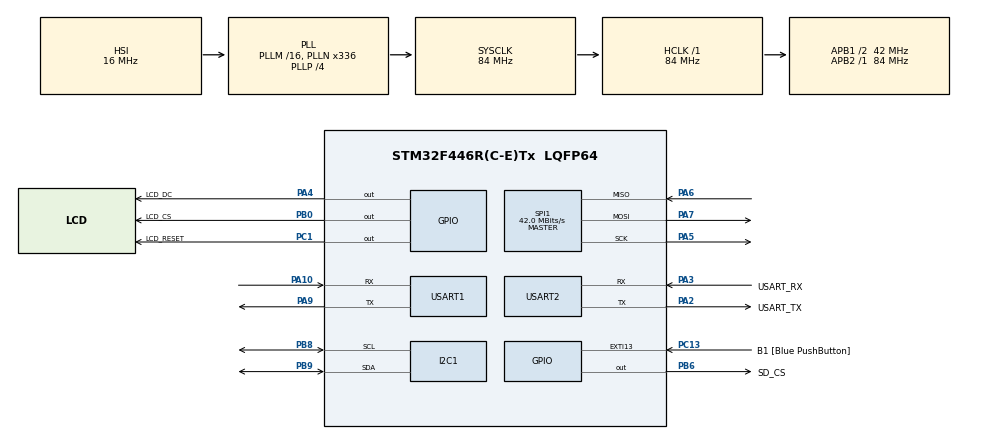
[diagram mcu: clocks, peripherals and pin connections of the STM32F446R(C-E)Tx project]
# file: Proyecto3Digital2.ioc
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FATFS._MAX_SS=4096
FATFS._USE_LFN=1
Mcu.Family=STM32F4
Mcu.Name=STM32F446R(C-E)Tx
Mcu.Package=LQFP64
NVIC.PriorityGroup=NVIC_PRIORITYGROUP_0
PA10.Mode=Asynchronous
PA10.Signal=USART1_RX
PA13.GPIO_Label=TMS
PA13.Mode=Serial_Wire
PA13.Signal=SYS_JTMS-SWDIO
PA14.GPIO_Label=TCK
PA14.Mode=Serial_Wire
PA14.Signal=SYS_JTCK-SWCLK
PA2.GPIO_Label=USART_TX
PA2.Mode=Asynchronous
PA2.Signal=USART2_TX
PA3.GPIO_Label=USART_RX
PA3.Mode=Asynchronous
PA3.Signal=USART2_RX
PA4.GPIO_Label=LCD_DC
PA4.GPIO_Speed=GPIO_SPEED_FREQ_MEDIUM
PA4.Signal=GPIO_Output
PA5.Mode=Full_Duplex_Master
PA5.Signal=SPI1_SCK
PA6.Mode=Full_Duplex_Master
PA6.Signal=SPI1_MISO
PA7.Mode=Full_Duplex_Master
PA7.Signal=SPI1_MOSI
PA9.Mode=Asynchronous
PA9.Signal=USART1_TX
PB0.GPIO_Label=LCD_CS
PB0.GPIO_Speed=GPIO_SPEED_FREQ_MEDIUM
PB0.Signal=GPIO_Output
PB3.GPIO_Label=SWO
PB3.Signal=SYS_JTDO-SWO
PB6.GPIO_Label=SD_CS
PB6.GPIO_Speed=GPIO_SPEED_FREQ_MEDIUM
PB6.Signal=GPIO_Output
PB8.Mode=I2C
PB8.Signal=I2C1_SCL
PB9.Mode=I2C
PB9.Signal=I2C1_SDA
PC1.GPIO_Label=LCD_RESET
PC1.GPIO_Speed=GPIO_SPEED_FREQ_MEDIUM
PC1.Signal=GPIO_Output
PC13.GPIO_Label=B1 [Blue PushButton]
PC13.GPIO_ModeDefaultEXTI=GPIO_MODE_IT_FALLING
PC13.Signal=GPXTI13
PC14-OSC32_IN.Mode=LSE-External-Oscillator
PC14-OSC32_IN.Signal=RCC_OSC32_IN
PC15-OSC32_OUT.Mode=LSE-External-Oscillator
PC15-OSC32_OUT.Signal=RCC_OSC32_OUT
PH0-OSC_IN.Mode=HSE-External-Oscillator
PH0-OSC_IN.Signal=RCC_OSC_IN
PH1-OSC_OUT.Mode=HSE-External-Oscillator
PH1-OSC_OUT.Signal=RCC_OSC_OUT
ProjectManager.HeapSize=0x200
ProjectManager.StackSize=0x400
ProjectManager.TargetToolchain=STM32CubeIDE
RCC.48MHZClocksFreq_Value=84000000
RCC.AHBFreq_Value=84000000
RCC.APB1CLKDivider=RCC_HCLK_DIV2
RCC.APB1Freq_Value=42000000
RCC.APB1TimFreq_Value=84000000
RCC.APB2Freq_Value=84000000
RCC.APB2TimFreq_Value=84000000
RCC.CortexFreq_Value=84000000
RCC.FLatency-AdvancedSettings=FLASH_LATENCY_2
RCC.HCLKFreq_Value=84000000
RCC.HSE_VALUE=8000000
RCC.HSI_VALUE=16000000
RCC.PLLN=336
RCC.PLLP=RCC_PLLP_DIV4
RCC.SYSCLKFreq_VALUE=84000000
RCC.SYSCLKSource=RCC_SYSCLKSOURCE_PLLCLK
RCC.USBFreq_Value=168000000
RCC.VCOOutputFreq_Value=336000000
SPI1.BaudRatePrescaler=SPI_BAUDRATEPRESCALER_2
SPI1.CalculateBaudRate=42.0 MBits/s
SPI1.Direction=SPI_DIRECTION_2LINES
SPI1.Mode=SPI_MODE_MASTER
SPI1.VirtualType=VM_MASTER
USART1.VirtualMode=VM_ASYNC
USART2.VirtualMode=VM_ASYNC
VP_FATFS_VS_Generic.Mode=User_defined
board=NUCLEO-F446RE

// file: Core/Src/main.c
/* USER CODE BEGIN Header */
/**
 ******************************************************************************
 * @file           : main.c
 * @brief          : Main program body
 ******************************************************************************
 * @attention
 *
 * Copyright (c) 2024 STMicroelectronics.
 * All rights reserved.
 *
 * This software is licensed under terms that can be found in the LICENSE file
 * in the root directory of this software component.
 * If no LICENSE file comes with this software, it is provided AS-IS.
 *
 ******************************************************************************
 */

/* USER CODE END Header */
#include "main.h"
#include "fatfs.h"

/* USER CODE BEGIN Includes */
#include <string.h>
#include <stdio.h>
#include <math.h>
#include "ili9341.h"
/* USER CODE END Includes */

I2C_HandleTypeDef hi2c1;

SPI_HandleTypeDef hspi1;

UART_HandleTypeDef huart1;
UART_HandleTypeDef huart2;

/* USER CODE BEGIN PV */

static volatile uint8_t uart1RecibioByte = 0;

extern const uint16_t fondo_imagen[76800];

extern const uint16_t lateral_izquierda[4900];
extern const uint16_t lateral_centro[4900];
extern const uint16_t lateral_derecha[4900];

extern const uint16_t vertical_arriba[4900];
extern const uint16_t vertical_centro[4900];
extern const uint16_t vertical_abajo[4900];

extern const uint16_t precaucion[900];

float offset_gx = 0.0f;
float offset_gy = 0.0f;
float offset_gz = 0.0f;

static uint8_t datoN1;

static volatile char lineaN1[64];
static volatile uint8_t lineaN1Lista = 0;

/* USER CODE END PV */

void SystemClock_Config(void);
static void MX_GPIO_Init(void);
static void MX_USART2_UART_Init(void);
static void MX_SPI1_Init(void);
static void MX_USART1_UART_Init(void);
static void MX_I2C1_Init(void);
/* USER CODE BEGIN PFP */
void MPU6050_Calibrar_Giroscopio(void);

void LCD_MostrarFondo(void);
void LCD_MovLateral(const uint16_t *imagen);
void LCD_MovVertical(const uint16_t *imagen);

void LCD_Rectangulo(uint16_t x, uint16_t y, uint16_t ancho, uint16_t alto, uint16_t color);
void LCD_DibujarPaneles(void);

void LCD_MostrarAngulos(float roll, float pitch);

void LCD_ActualizarManos(float roll, float pitch);

void LCD_MostrarPrecaucion(uint16_t x, uint16_t y);
void LCD_ActualizarPrecauciones(float roll, float pitch);

void UART_EnviarAngulos(float roll, float pitch);

void SPI1_VelocidadBaja(void);
void SPI1_VelocidadAlta(void);

static void N1_Enviar(const char *mensaje);
static void N1_Error(unsigned int id, const char *detalle);
static void N1_Ejecutar(const char *linea);
static void N1_Procesar(void);

static HAL_StatusTypeDef MPU6050_LeerAngulos(float *roll, float *pitch);
static FRESULT SD_GuardarMedicion(unsigned int id, uint32_t tiempo, float roll, float pitch);

/* USER CODE END PFP */

int main(void)
{

  /* MCU Configuration--------------------------------------------------------*/

  /* Reset of all peripherals, Initializes the Flash interface and the Systick. */
  HAL_Init();

  /* Configure the system clock */
  SystemClock_Config();

  /* Initialize all configured peripherals */
  MX_GPIO_Init();
  MX_USART2_UART_Init();
  MX_SPI1_Init();
  MX_USART1_UART_Init();
  MX_I2C1_Init();
  MX_FATFS_Init();
  /* USER CODE BEGIN 2 */

  // Inicializar pantalla TFT
  LCD_Init();

  // Dibujar fondo
  LCD_MostrarFondo();

  // Dibujar paneles de angulos
  LCD_DibujarPaneles();

  // Dibujar manos
  LCD_MovLateral(lateral_centro);
  LCD_MovVertical(vertical_centro);

  // Titulos de los paneles
  LCD_Print("ROLL", 35, 60, 1, 0x001F, 0xFFFF);

  LCD_Print("PITCH", 35, 150, 1, 0x001F, 0xFFFF);

  HAL_StatusTypeDef prueba_i2c;

  prueba_i2c = HAL_I2C_IsDeviceReady(&hi2c1, 0x68 << 1, 3, 100);

  if (prueba_i2c == HAL_OK)
  {
      char mensaje[] = "MPU6050 responde por I2C\r\n";

      HAL_UART_Transmit(&huart2, (uint8_t *)mensaje, strlen(mensaje), 100);
  }
  else
  {
      char mensaje[] = "MPU6050 NO responde por I2C\r\n";

      HAL_UART_Transmit(&huart2, (uint8_t *)mensaje, strlen(mensaje), 100);
  }

  uint8_t despertar = 0x00;

  HAL_StatusTypeDef estado = HAL_I2C_Mem_Write(&hi2c1, 0x68 << 1, 0x6B, I2C_MEMADD_SIZE_8BIT, &despertar, 1, 100);

  // Verificar si la escritura fue exitosa
  if (estado == HAL_OK)
  {
      char texto[] = "Sensor inicializado\r\n";

      HAL_UART_Transmit(&huart2, (uint8_t *)texto, sizeof(texto) - 1, 100);
  }
  else
  {
      char texto[] = "Error al inicializar sensor\r\n";

      HAL_UART_Transmit(&huart2, (uint8_t *)texto, sizeof(texto) - 1, 100);

      Error_Handler();
  }

  // Configurar giroscopio en +/-250 grados/s
  uint8_t gyro_config = 0x00;

  HAL_StatusTypeDef estado_config;

  estado_config = HAL_I2C_Mem_Write(&hi2c1, 0x68 << 1, 0x1B, I2C_MEMADD_SIZE_8BIT, &gyro_config, 1, 100);

  if (estado_config != HAL_OK)
  {
      Error_Handler();
  }

  // Configurar acelerometro en +/-2 g
  uint8_t accel_config = 0x00;

  if (HAL_I2C_Mem_Write(&hi2c1, 0x68 << 1, 0x1C, I2C_MEMADD_SIZE_8BIT, &accel_config, 1, 100) != HAL_OK)
  {
      Error_Handler();
  }

  // Dar tiempo al sensor para estabilizarse
  HAL_Delay(100);

  // Avisar que comenzara la calibracion
  char inicio[] = "Calibrando giroscopio. No mover sensor...\r\n";

  HAL_UART_Transmit(&huart2, (uint8_t *)inicio, sizeof(inicio) - 1, 100);

  // Calibrar
  MPU6050_Calibrar_Giroscopio();

  char fincalibracion[] = "Fin de la calibracion\r\n";

  	    HAL_UART_Transmit(&huart2, (uint8_t *)fincalibracion, strlen(fincalibracion), HAL_MAX_DELAY);

  	    HAL_Delay(2000);

  	  HAL_NVIC_SetPriority(USART1_IRQn, 0, 0);
  	  HAL_NVIC_EnableIRQ(USART1_IRQn);

  	  if (HAL_UART_Receive_IT(&huart1, &datoN1, 1) != HAL_OK)
  	  {
  	      Error_Handler();
  	  }

  	  const char lista[] = "NUCLEO2 LISTA\r\n";

  	  HAL_UART_Transmit(
  	      &huart2,
  	      (uint8_t *)lista,
  	      sizeof(lista) - 1U,
  	      100
  	  );

  /* USER CODE END 2 */

  /* Infinite loop */
  /* USER CODE BEGIN WHILE */

  while (1)
  {

	  if (uart1RecibioByte)
	  {
	      uart1RecibioByte = 0;

	      char aviso[] = "UART1: byte recibido\r\n";

	      HAL_UART_Transmit(
	          &huart2,
	          (uint8_t *)aviso,
	          strlen(aviso),
	          100
	      );
	  }

	  N1_Procesar();

      uint8_t datos[6];

      int16_t Ax, Ay, Az;
      int16_t Gx, Gy, Gz;

      float ax_g, ay_g, az_g;
      float gx_dps, gy_dps, gz_dps;

      float roll, pitch;

      char mensaje[100];

      HAL_StatusTypeDef estado_lectura;

      // Leer los 6 bytes del acelerometro
      estado_lectura = HAL_I2C_Mem_Read(&hi2c1, 0x68 << 1, 0x3B, I2C_MEMADD_SIZE_8BIT, datos, 6, 100);

      if (estado_lectura == HAL_OK)
      {
          // Combinar bytes altos y bajos
          Ax = (int16_t)((datos[0] << 8) | datos[1]);
          Ay = (int16_t)((datos[2] << 8) | datos[3]);
          Az = (int16_t)((datos[4] << 8) | datos[5]);

          // Convertir a unidades de gravedad (g)
          ax_g = Ax / 16384.0f;
          ay_g = Ay / 16384.0f;
          az_g = Az / 16384.0f;

          // Calcular angulos de inclinacion
          roll = atan2f(ay_g, az_g) * 180.0f / 3.14159265f;

          pitch = atan2f(-ax_g, sqrtf(ay_g * ay_g + az_g * az_g)) * 180.0f / 3.14159265f;

          // Actualizar angulos en la pantalla
          LCD_MostrarAngulos(roll, pitch);

          // Actualizar imagenes segun los angulos
          LCD_ActualizarManos(roll, pitch);

          // Actualizar advertencias
          LCD_ActualizarPrecauciones(roll, pitch);

          // Enviar mediciones a Nucleo 1
          //UART_EnviarAngulos(roll, pitch);

          // Preparar mensaje
          snprintf(mensaje, sizeof(mensaje),"Ax: %.2f g | Ay: %.2f g | Az: %.2f g\r\n", ax_g, ay_g, az_g);

          // Enviar al monitor serial
          HAL_UART_Transmit(&huart2, (uint8_t *)mensaje, strlen(mensaje), 100);

          snprintf(mensaje, sizeof(mensaje), "Roll: %.2f grados | Pitch: %.2f grados\r\n", roll, pitch);

          HAL_UART_Transmit(&huart2, (uint8_t *)mensaje, strlen(mensaje), 100);
      }

      // Leer los 6 bytes del giroscopio
            estado_lectura = HAL_I2C_Mem_Read(&hi2c1, 0x68 << 1, 0x43, I2C_MEMADD_SIZE_8BIT, datos, 6, 100);

            if (estado_lectura == HAL_OK)
            {
                // Combinar bytes altos y bajos
                Gx = (int16_t)((datos[0] << 8) | datos[1]);
                Gy = (int16_t)((datos[2] << 8) | datos[3]);
                Gz = (int16_t)((datos[4] << 8) | datos[5]);

                // Convertir a grados por segundo
                gx_dps = (Gx / 131.0f) - offset_gx;
                gy_dps = (Gy / 131.0f) - offset_gy;
                gz_dps = (Gz / 131.0f) - offset_gz;

                // Preparar mensaje
                snprintf(mensaje, sizeof(mensaje),"Gx: %.2f dps | Gy: %.2f dps | Gz: %.2f dps\r\n", gx_dps, gy_dps, gz_dps);

                // Enviar al monitor serial
                HAL_UART_Transmit(&huart2, (uint8_t *)mensaje, strlen(mensaje), 100);
            }
            // Separar cada grupo de mediciones

                char separador[] = "--------------------------\r\n";

                HAL_UART_Transmit(&huart2, (uint8_t *)separador, strlen(separador), 100);

      HAL_Delay(500);
  }
    /* USER CODE END WHILE */

}

void SystemClock_Config(void)
{
  RCC_OscInitTypeDef RCC_OscInitStruct = {0};
  RCC_ClkInitTypeDef RCC_ClkInitStruct = {0};

  /** Configure the main internal regulator output voltage
  */
  __HAL_RCC_PWR_CLK_ENABLE();
  __HAL_PWR_VOLTAGESCALING_CONFIG(PWR_REGULATOR_VOLTAGE_SCALE3);

  /** Initializes the RCC Oscillators according to the specified parameters
  * in the RCC_OscInitTypeDef structure.
  */
  RCC_OscInitStruct.OscillatorType = RCC_OSCILLATORTYPE_HSI;
  RCC_OscInitStruct.HSIState = RCC_HSI_ON;
  RCC_OscInitStruct.HSICalibrationValue = RCC_HSICALIBRATION_DEFAULT;
  RCC_OscInitStruct.PLL.PLLState = RCC_PLL_ON;
  RCC_OscInitStruct.PLL.PLLSource = RCC_PLLSOURCE_HSI;
  RCC_OscInitStruct.PLL.PLLM = 16;
  RCC_OscInitStruct.PLL.PLLN = 336;
  RCC_OscInitStruct.PLL.PLLP = RCC_PLLP_DIV4;
  RCC_OscInitStruct.PLL.PLLQ = 2;
  RCC_OscInitStruct.PLL.PLLR = 2;
  if (HAL_RCC_OscConfig(&RCC_OscInitStruct) != HAL_OK)
  {
    Error_Handler();
  }

  /** Initializes the CPU, AHB and APB buses clocks
  */
  RCC_ClkInitStruct.ClockType = RCC_CLOCKTYPE_HCLK|RCC_CLOCKTYPE_SYSCLK
                              |RCC_CLOCKTYPE_PCLK1|RCC_CLOCKTYPE_PCLK2;
  RCC_ClkInitStruct.SYSCLKSource = RCC_SYSCLKSOURCE_PLLCLK;
  RCC_ClkInitStruct.AHBCLKDivider = RCC_SYSCLK_DIV1;
  RCC_ClkInitStruct.APB1CLKDivider = RCC_HCLK_DIV2;
  RCC_ClkInitStruct.APB2CLKDivider = RCC_HCLK_DIV1;

  if (HAL_RCC_ClockConfig(&RCC_ClkInitStruct, FLASH_LATENCY_2) != HAL_OK)
  {
    Error_Handler();
  }
}

static void MX_I2C1_Init(void)
{

  hi2c1.Instance = I2C1;
  hi2c1.Init.ClockSpeed = 100000;
  hi2c1.Init.DutyCycle = I2C_DUTYCYCLE_2;
  hi2c1.Init.OwnAddress1 = 0;
  hi2c1.Init.AddressingMode = I2C_ADDRESSINGMODE_7BIT;
  hi2c1.Init.DualAddressMode = I2C_DUALADDRESS_DISABLE;
  hi2c1.Init.OwnAddress2 = 0;
  hi2c1.Init.GeneralCallMode = I2C_GENERALCALL_DISABLE;
  hi2c1.Init.NoStretchMode = I2C_NOSTRETCH_DISABLE;
  if (HAL_I2C_Init(&hi2c1) != HAL_OK)
  {
    Error_Handler();
  }

}

static void MX_SPI1_Init(void)
{

  /* SPI1 parameter configuration*/
  hspi1.Instance = SPI1;
  hspi1.Init.Mode = SPI_MODE_MASTER;
  hspi1.Init.Direction = SPI_DIRECTION_2LINES;
  hspi1.Init.DataSize = SPI_DATASIZE_8BIT;
  hspi1.Init.CLKPolarity = SPI_POLARITY_LOW;
  hspi1.Init.CLKPhase = SPI_PHASE_1EDGE;
  hspi1.Init.NSS = SPI_NSS_SOFT;
  hspi1.Init.BaudRatePrescaler = SPI_BAUDRATEPRESCALER_8;
  hspi1.Init.FirstBit = SPI_FIRSTBIT_MSB;
  hspi1.Init.TIMode = SPI_TIMODE_DISABLE;
  hspi1.Init.CRCCalculation = SPI_CRCCALCULATION_DISABLE;
  hspi1.Init.CRCPolynomial = 10;
  if (HAL_SPI_Init(&hspi1) != HAL_OK)
  {
    Error_Handler();
  }

}

static void MX_USART1_UART_Init(void)
{

  huart1.Instance = USART1;
  huart1.Init.BaudRate = 115200;
  huart1.Init.WordLength = UART_WORDLENGTH_8B;
  huart1.Init.StopBits = UART_STOPBITS_1;
  huart1.Init.Parity = UART_PARITY_NONE;
  huart1.Init.Mode = UART_MODE_TX_RX;
  huart1.Init.HwFlowCtl = UART_HWCONTROL_NONE;
  huart1.Init.OverSampling = UART_OVERSAMPLING_16;
  if (HAL_UART_Init(&huart1) != HAL_OK)
  {
    Error_Handler();
  }

}

static void MX_USART2_UART_Init(void)
{

  huart2.Instance = USART2;
  huart2.Init.BaudRate = 115200;
  huart2.Init.WordLength = UART_WORDLENGTH_8B;
  huart2.Init.StopBits = UART_STOPBITS_1;
  huart2.Init.Parity = UART_PARITY_NONE;
  huart2.Init.Mode = UART_MODE_TX_RX;
  huart2.Init.HwFlowCtl = UART_HWCONTROL_NONE;
  huart2.Init.OverSampling = UART_OVERSAMPLING_16;
  if (HAL_UART_Init(&huart2) != HAL_OK)
  {
    Error_Handler();
  }

}

static void MX_GPIO_Init(void)
{
  GPIO_InitTypeDef GPIO_InitStruct = {0};

  /* GPIO Ports Clock Enable */
  __HAL_RCC_GPIOC_CLK_ENABLE();
  __HAL_RCC_GPIOH_CLK_ENABLE();
  __HAL_RCC_GPIOA_CLK_ENABLE();
  __HAL_RCC_GPIOB_CLK_ENABLE();

  /*Configure GPIO pin Output Level */
  HAL_GPIO_WritePin(LCD_RESET_GPIO_Port, LCD_RESET_Pin, GPIO_PIN_RESET);

  /*Configure GPIO pin Output Level */
  HAL_GPIO_WritePin(LCD_DC_GPIO_Port, LCD_DC_Pin, GPIO_PIN_RESET);

  /*Configure GPIO pin Output Level */
  HAL_GPIO_WritePin(GPIOB, LCD_CS_Pin|SD_CS_Pin, GPIO_PIN_SET);

  /*Configure GPIO pin : B1_Pin */
  GPIO_InitStruct.Pin = B1_Pin;
  GPIO_InitStruct.Mode = GPIO_MODE_IT_FALLING;
  GPIO_InitStruct.Pull = GPIO_NOPULL;
  HAL_GPIO_Init(B1_GPIO_Port, &GPIO_InitStruct);

  /*Configure GPIO pin : LCD_RESET_Pin */
  GPIO_InitStruct.Pin = LCD_RESET_Pin;
  GPIO_InitStruct.Mode = GPIO_MODE_OUTPUT_PP;
  GPIO_InitStruct.Pull = GPIO_NOPULL;
  GPIO_InitStruct.Speed = GPIO_SPEED_FREQ_MEDIUM;
  HAL_GPIO_Init(LCD_RESET_GPIO_Port, &GPIO_InitStruct);

  /*Configure GPIO pin : LCD_DC_Pin */
  GPIO_InitStruct.Pin = LCD_DC_Pin;
  GPIO_InitStruct.Mode = GPIO_MODE_OUTPUT_PP;
  GPIO_InitStruct.Pull = GPIO_NOPULL;
  GPIO_InitStruct.Speed = GPIO_SPEED_FREQ_MEDIUM;
  HAL_GPIO_Init(LCD_DC_GPIO_Port, &GPIO_InitStruct);

  /*Configure GPIO pins : LCD_CS_Pin SD_CS_Pin */
  GPIO_InitStruct.Pin = LCD_CS_Pin|SD_CS_Pin;
  GPIO_InitStruct.Mode = GPIO_MODE_OUTPUT_PP;
  GPIO_InitStruct.Pull = GPIO_NOPULL;
  GPIO_InitStruct.Speed = GPIO_SPEED_FREQ_MEDIUM;
  HAL_GPIO_Init(GPIOB, &GPIO_InitStruct);

}

/* USER CODE BEGIN 4 */

static void N1_Enviar(const char *mensaje)
{
    // Enviar respuesta hacia Nucleo 1
    HAL_StatusTypeDef resultado;

    resultado = HAL_UART_Transmit(
        &huart1,
        (uint8_t *)mensaje,
        (uint16_t)strlen(mensaje),
        100
    );

    // Mostrar respuesta enviada en Hercules
    char debug[130];

    snprintf(debug, sizeof(debug),
             "TX Nucleo 2: %s | HAL: %d\r\n",
             mensaje, (int)resultado);

    HAL_UART_Transmit(
        &huart2,
        (uint8_t *)debug,
        strlen(debug),
        100
    );
}

// Informar un error asociado a una solicitud.
static void N1_Error(unsigned int id, const char *detalle)
{
    char respuesta[96];

    snprintf(
        respuesta,
        sizeof(respuesta),
        "ERROR;%u;%s\r\n",
        id,
        detalle
    );

    N1_Enviar(respuesta);
}

// Ejecutar una solicitud completa.
static void N1_Ejecutar(const char *linea)
{

	// Diagnostico: mostrar comando completo recibido
	char debug_uart[100];

	snprintf(debug_uart, sizeof(debug_uart),
	         "Comando recibido N1: %s\r\n", linea);

	HAL_UART_Transmit(&huart2,
	                  (uint8_t *)debug_uart,
	                  strlen(debug_uart),
	                  100);

    char comando[16];
    char extra;
    unsigned int id;

    if (sscanf(linea, "%15[^;];%u%c", comando, &id, &extra) != 2 ||
        id == 0U ||
        id > 65535U)
    {
        N1_Error(0, "FORMATO_INVALIDO");
        return;
    }

    if (strcmp(comando, "guardar") == 0)
    {
        float roll;
        float pitch;

        // Tomar una nueva medicion del MPU6050
        HAL_StatusTypeDef estado = MPU6050_LeerAngulos(&roll, &pitch);

        if (estado != HAL_OK)
        {
            N1_Error(id, "LECTURA_SENSOR");
            return;
        }

        // Obtener tiempo de la medicion
        uint32_t tiempo = HAL_GetTick();

        // Guardar nueva medicion en la microSD
        FRESULT resultado = SD_GuardarMedicion(id, tiempo, roll, pitch);

        if (resultado == FR_OK)
        {
            char respuesta[64];

            snprintf(respuesta, sizeof(respuesta), "GUARDADO;%u\r\n", id);

            N1_Enviar(respuesta);
        }
        else
        {
            char detalle[40];

            snprintf(detalle, sizeof(detalle), "SD_ERROR_%u", (unsigned int)resultado);

            N1_Error(id, detalle);
        }

        return;
    }

    if (strcmp(comando, "leer") != 0)
    {
        N1_Error(id, "COMANDO_INVALIDO");
        return;
    }

    char respuesta[96];

    // Nucleo 1 activa el sonido al recibir esta confirmacion.
    snprintf(
        respuesta,
        sizeof(respuesta),
        "INICIO;%u\r\n",
        id
    );

    N1_Enviar(respuesta);

    // Leer acelerometro: suficiente para calcular inclinacion.
    uint8_t datos[6];

    if (HAL_I2C_Mem_Read(
            &hi2c1,
            0x68U << 1,
            0x3B,
            I2C_MEMADD_SIZE_8BIT,
            datos,
            6,
            100
        ) != HAL_OK)
    {
        N1_Error(id, "LECTURA_SENSOR");
        return;
    }

    int16_t ax =
        (int16_t)(((uint16_t)datos[0] << 8) | datos[1]);

    int16_t ay =
        (int16_t)(((uint16_t)datos[2] << 8) | datos[3]);

    int16_t az =
        (int16_t)(((uint16_t)datos[4] << 8) | datos[5]);

    if (ax == 0 && ay == 0 && az == 0)
    {
        N1_Error(id, "VECTOR_NULO");
        return;
    }

    float ax_g = ax / 16384.0f;
    float ay_g = ay / 16384.0f;
    float az_g = az / 16384.0f;

    float roll =
        atan2f(ay_g, az_g) * 180.0f / 3.14159265f;

    float pitch =
        atan2f(
            -ax_g,
            sqrtf(ay_g * ay_g + az_g * az_g)
        ) * 180.0f / 3.14159265f;

    // Usar las funciones de pantalla de TU proyecto.
    LCD_MostrarAngulos(roll, pitch);
    LCD_ActualizarManos(roll, pitch);
    LCD_ActualizarPrecauciones(roll, pitch);

    // Transmitir angulos como enteros en centesimas de grado.
    int rollCdeg = (int)lroundf(roll * 100.0f);
    int pitchCdeg = (int)lroundf(pitch * 100.0f);

    snprintf(
        respuesta,
        sizeof(respuesta),
        "DATOS;%u;%d;%d\r\n",
        id,
        rollCdeg,
        pitchCdeg
    );

    N1_Enviar(respuesta);
}

// Procesar una linea recibida, fuera de la interrupcion.
static void N1_Procesar(void)
{
    uint8_t lista = lineaN1Lista;

    if (lista == 0U)
    {
        return;
    }

    if (lista == 2U)
    {
        lineaN1Lista = 0;
        N1_Error(0, "LINEA_INVALIDA");
        return;
    }

    // Copiar mientras la interrupcion conserva la linea.
    char copia[64];

    for (uint8_t i = 0; i < sizeof(copia); i++)
    {
        copia[i] = lineaN1[i];

        if (copia[i] == '\0')
        {
            break;
        }
    }

    copia[sizeof(copia) - 1U] = '\0';

    lineaN1Lista = 0;

    N1_Ejecutar(copia);
}

// Recibir caracteres sin hacer lecturas I2C ni dibujar en la ISR.
void HAL_UART_RxCpltCallback(UART_HandleTypeDef *huart)
{
    static uint8_t posicion = 0;
    static uint8_t descartar = 0;

    if (huart->Instance != USART1)
    {
        return;
    }

    if (lineaN1Lista == 0U)
    {
        char c = (char)datoN1;
        uart1RecibioByte = 1;

        if (c == '\n')
        {
            lineaN1[posicion] = '\0';

            if (descartar)
            {
                lineaN1Lista = 2;
            }
            else if (posicion > 0U)
            {
                lineaN1Lista = 1;
            }

            posicion = 0;
            descartar = 0;
        }
        else if (c != '\r' && !descartar)
        {
            if (c != '\0' &&
                posicion < sizeof(lineaN1) - 1U)
            {
                lineaN1[posicion++] = c;
            }
            else
            {
                descartar = 1;
            }
        }
    }

    HAL_UART_Receive_IT(&huart1, &datoN1, 1);
}

static HAL_StatusTypeDef MPU6050_LeerAngulos( float *roll, float *pitch)
{
    uint8_t datos[6];

    if (roll == NULL || pitch == NULL)
    {
        return HAL_ERROR;
    }

    HAL_StatusTypeDef estado = HAL_I2C_Mem_Read(&hi2c1, 0x68 << 1, 0x3B, I2C_MEMADD_SIZE_8BIT, datos, 6, 100);

    if (estado != HAL_OK)
    {
        return estado;
    }

    int16_t Ax = (int16_t)(((uint16_t)datos[0] << 8) | datos[1]
    );

    int16_t Ay = (int16_t)(((uint16_t)datos[2] << 8) | datos[3]
    );

    int16_t Az = (int16_t)(((uint16_t)datos[4] << 8) | datos[5]
    );

    if (Ax == 0 && Ay == 0 && Az == 0)
    {
        return HAL_ERROR;
    }

    float ax_g = Ax / 16384.0f;
    float ay_g = Ay / 16384.0f;
    float az_g = Az / 16384.0f;

    *roll = atan2f(ay_g, az_g) * 180.0f / 3.14159265f;

    *pitch = atan2f(-ax_g, sqrtf(ay_g * ay_g + az_g * az_g)) * 180.0f / 3.14159265f;

    return HAL_OK;
}

static FRESULT SD_GuardarMedicion(unsigned int id, uint32_t tiempo, float roll, float pitch)
{
    FATFS fs;
    FIL archivo;
    FRESULT resultado;
    FRESULT cierre;
    UINT escritos;

    char linea[100];

    const char cabecera[] = "ID,Tiempo_ms,Roll_deg,Pitch_deg\r\n";

    // Montar tarjeta microSD
    resultado = f_mount(&fs, "", 1);

    if (resultado != FR_OK)
    {
        f_mount(NULL, "", 0);
        return resultado;
    }

    // Abrir archivo sin borrar datos anteriores
    resultado = f_open(&archivo, "DATOS.CSV", FA_OPEN_ALWAYS | FA_WRITE);

    if (resultado != FR_OK)
    {
        f_mount(NULL, "", 0);
        return resultado;
    }

    // Si el archivo esta vacio, escribir cabecera
    if (f_size(&archivo) == 0)
    {
        resultado = f_write(&archivo, cabecera, sizeof(cabecera) - 1, &escritos);

        if (resultado != FR_OK ||
            escritos != sizeof(cabecera) - 1)
        {
            if (resultado == FR_OK)
                resultado = FR_DISK_ERR;

            goto finalizar;
        }
    }

    // Colocar cursor al final
    resultado = f_lseek(&archivo, f_size(&archivo));

    if (resultado != FR_OK)
        goto finalizar;

    // Preparar medicion
    int longitud = snprintf(
        linea,
        sizeof(linea),
        "%u,%lu,%.2f,%.2f\r\n",
        id,
        (unsigned long)tiempo,
        roll,
        pitch
    );

    if (longitud <= 0 ||
        longitud >= (int)sizeof(linea))
    {
        resultado = FR_INVALID_PARAMETER;
        goto finalizar;
    }

    // Escribir medicion
    resultado = f_write(&archivo, linea, (UINT)longitud, &escritos);

    if (resultado == FR_OK &&
        escritos != (UINT)longitud)
    {
        resultado = FR_DISK_ERR;
    }

finalizar:

    // Cerrar archivo
    cierre = f_close(&archivo);

    if (resultado == FR_OK)
    {
        resultado = cierre;
    }

    // Desmontar microSD
    f_mount(NULL, "", 0);

    return resultado;
}

void LCD_MostrarFondo(void)
{
    uint16_t color;

    SetWindows(0, 0, 319, 239);

    for (uint32_t i = 0; i < 76800; i++)
    {
        color = fondo_imagen[i];

        LCD_DATA(color >> 8);
        LCD_DATA(color & 0xFF);
    }
}

void LCD_MovLateral(const uint16_t *imagen)
{
    SetWindows(220, 50, 289, 119);

    for (uint32_t i = 0; i < 4900; i++)
    {
        uint16_t color = imagen[i];

        LCD_DATA(color >> 8);
        LCD_DATA(color & 0xFF);
    }
}

void LCD_MovVertical(const uint16_t *imagen)
{
    SetWindows(220, 140, 289, 209);

    for (uint32_t i = 0; i < 4900; i++)
    {
        uint16_t color = imagen[i];

        LCD_DATA(color >> 8);
        LCD_DATA(color & 0xFF);
    }
}

void LCD_MostrarAngulos(float roll, float pitch)
{
    char texto[20];

    // Limpiar area del angulo Roll
    LCD_Rectangulo(25, 80, 133, 32, 0xFFFF);

    snprintf(texto, sizeof(texto), "%.1f", roll);

    // Numero grande
    LCD_Print(texto, 30, 85, 2, 0x001F, 0xFFFF);

    // Unidad
    LCD_Print("deg", 115, 92, 1, 0x001F, 0xFFFF);

    // Limpiar area del angulo Pitch
    LCD_Rectangulo(25, 170, 133, 32, 0xFFFF);

    snprintf(texto, sizeof(texto), "%.1f", pitch);

    // Numero grande
    LCD_Print(texto, 30, 175, 2, 0x001F, 0xFFFF);

    // Unidad
    LCD_Print("deg", 115, 182, 1, 0x001F, 0xFFFF);
}

void LCD_ActualizarManos(float roll, float pitch)
{
    static int8_t estado_lateral = 0;
    static int8_t estado_vertical = 0;

    int8_t nuevo_lateral;
    int8_t nuevo_vertical;

    // Determinar posicion lateral
    if (roll < -15.0f)
    {
        nuevo_lateral = -1;
    }
    else if (roll > 15.0f)
    {
        nuevo_lateral = 1;
    }
    else
    {
        nuevo_lateral = 0;
    }

    // Determinar posicion vertical
    if (pitch < -15.0f)
    {
        nuevo_vertical = -1;
    }
    else if (pitch > 15.0f)
    {
        nuevo_vertical = 1;
    }
    else
    {
        nuevo_vertical = 0;
    }

    // Actualizar imagen lateral solo si cambia
    if (nuevo_lateral != estado_lateral)
    {
        if (nuevo_lateral == -1)
        {
            LCD_MovLateral(lateral_izquierda);
        }
        else if (nuevo_lateral == 1)
        {
            LCD_MovLateral(lateral_derecha);
        }
        else
        {
            LCD_MovLateral(lateral_centro);
        }

        estado_lateral = nuevo_lateral;
    }

    // Actualizar imagen vertical solo si cambia
    if (nuevo_vertical != estado_vertical)
    {
        if (nuevo_vertical == -1)
        {
            LCD_MovVertical(vertical_arriba);
        }
        else if (nuevo_vertical == 1)
        {
            LCD_MovVertical(vertical_abajo);
        }
        else
        {
            LCD_MovVertical(vertical_centro);
        }

        estado_vertical = nuevo_vertical;
    }
}

void LCD_MostrarPrecaucion(uint16_t x, uint16_t y)
{
    uint16_t color;

    SetWindows(x, y, x + 29, y + 29);

    for (uint32_t i = 0; i < 900; i++)
    {
        color = precaucion[i];

        LCD_DATA(color >> 8);
        LCD_DATA(color & 0xFF);
    }
}

void LCD_ActualizarPrecauciones(float roll, float pitch)
{
    static uint8_t alerta_roll = 0;
    static uint8_t alerta_pitch = 0;

    uint8_t nueva_alerta_roll;
    uint8_t nueva_alerta_pitch;

    // Limites de prueba
    float limite_roll = 30.0f;
    float limite_pitch = 30.0f;

    // Comprobar si se superaron los limites
    nueva_alerta_roll = (fabsf(roll) > limite_roll);
    nueva_alerta_pitch = (fabsf(pitch) > limite_pitch);

    // Actualizar advertencia Roll
    if (nueva_alerta_roll != alerta_roll)
    {
        if (nueva_alerta_roll)
        {
            LCD_MostrarPrecaucion(164, 55);
        }
        else
        {
            LCD_Rectangulo(164, 55, 30, 30, 0xFFFF);
        }

        alerta_roll = nueva_alerta_roll;
    }

    // Actualizar advertencia Pitch
    if (nueva_alerta_pitch != alerta_pitch)
    {
        if (nueva_alerta_pitch)
        {
            LCD_MostrarPrecaucion(164, 145);
        }
        else
        {
            LCD_Rectangulo(164, 145, 30, 30, 0xFFFF);
        }

        alerta_pitch = nueva_alerta_pitch;
    }
}

void UART_EnviarAngulos(float roll, float pitch)
{
    char mensaje[64];

    int longitud = snprintf(mensaje, sizeof(mensaje), "ROLL:%.1f,PITCH:%.1f\r\n", roll, pitch);

    if (longitud > 0 && longitud < sizeof(mensaje))
    {
        HAL_UART_Transmit(&huart1, (uint8_t *)mensaje, (uint16_t)longitud, 100);
    }
}

void SPI1_VelocidadBaja(void)
{
    // Deseleccionar pantalla y SD
    HAL_GPIO_WritePin(LCD_CS_GPIO_Port,
                      LCD_CS_Pin, GPIO_PIN_SET);

    HAL_GPIO_WritePin(SD_CS_GPIO_Port,
                      SD_CS_Pin, GPIO_PIN_SET);

    // Desactivar SPI
    HAL_SPI_DeInit(&hspi1);

    // Configurar prescaler 256
    hspi1.Init.BaudRatePrescaler =
        SPI_BAUDRATEPRESCALER_256;

    // Reiniciar SPI
    if (HAL_SPI_Init(&hspi1) != HAL_OK)
    {
        Error_Handler();
    }
}

void SPI1_VelocidadAlta(void)
{
    // Deseleccionar pantalla y SD
    HAL_GPIO_WritePin(LCD_CS_GPIO_Port, LCD_CS_Pin, GPIO_PIN_SET);

    HAL_GPIO_WritePin(SD_CS_GPIO_Port, SD_CS_Pin, GPIO_PIN_SET);

    // Desactivar SPI
    HAL_SPI_DeInit(&hspi1);

    // Restaurar prescaler 8
    hspi1.Init.BaudRatePrescaler = SPI_BAUDRATEPRESCALER_8;

    // Reiniciar SPI
    if (HAL_SPI_Init(&hspi1) != HAL_OK)
    {
        Error_Handler();
    }
}

void MPU6050_Calibrar_Giroscopio(void)
{
    uint8_t datos[6];

    int16_t Gx, Gy, Gz;

    int32_t suma_gx = 0;
    int32_t suma_gy = 0;
    int32_t suma_gz = 0;

    uint16_t muestras_validas = 0;

    for (int i = 0; i < 500; i++)
    {
        HAL_StatusTypeDef estado;

        estado = HAL_I2C_Mem_Read(&hi2c1, 0x68 << 1, 0x43, I2C_MEMADD_SIZE_8BIT, datos, 6, 100);

        if (estado == HAL_OK)
        {
            Gx = (int16_t)((datos[0] << 8) | datos[1]);
            Gy = (int16_t)((datos[2] << 8) | datos[3]);
            Gz = (int16_t)((datos[4] << 8) | datos[5]);

            suma_gx += Gx;
            suma_gy += Gy;
            suma_gz += Gz;

            muestras_validas++;
        }

        HAL_Delay(5);
    }

    if (muestras_validas >= 450)
    {
        offset_gx = ((float)suma_gx / muestras_validas) / 131.0f;
        offset_gy = ((float)suma_gy / muestras_validas) / 131.0f;
        offset_gz = ((float)suma_gz / muestras_validas) / 131.0f;
    }
    else
    {
        Error_Handler();
    }
}

void LCD_Rectangulo(uint16_t x, uint16_t y, uint16_t ancho, uint16_t alto, uint16_t color)
{
    if (ancho == 0 || alto == 0 || x >= 320 || y >= 240 || ancho > 320 - x || alto > 240 - y)
    {
        return;
    }

    SetWindows(x, y, x + ancho - 1, y + alto - 1);

    for (uint32_t i = 0; i < (uint32_t)ancho * alto; i++)
    {
        LCD_DATA(color >> 8);
        LCD_DATA(color & 0xFF);
    }
}

void LCD_DibujarPaneles(void)
{
    uint16_t celeste = 0x05BF;
    uint16_t blanco = 0xFFFF;

    // Panel Roll: borde celeste
    LCD_Rectangulo(20, 50, 180, 70, celeste);

    // Interior blanco
    LCD_Rectangulo(23, 53, 174, 64, blanco);

    // Panel Pitch: borde celeste
    LCD_Rectangulo(20, 140, 180, 70, celeste);

    // Interior blanco
    LCD_Rectangulo(23, 143, 174, 64, blanco);
}

/* USER CODE END 4 */

void Error_Handler(void)
{
	__disable_irq();
	while (1) {
	}
}
